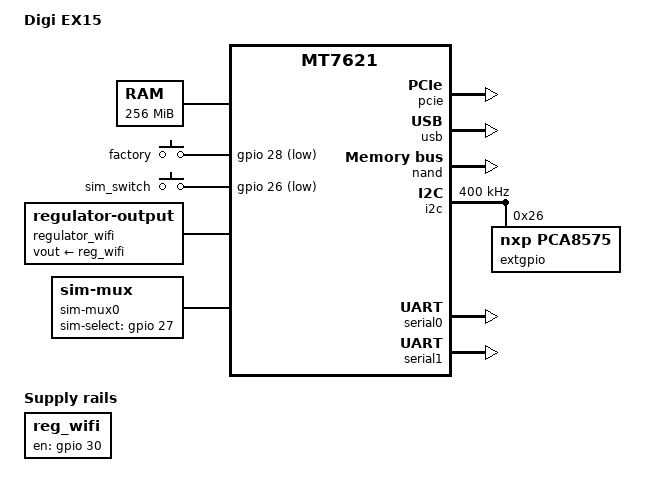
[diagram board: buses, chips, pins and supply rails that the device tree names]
/dts-v1/;

#include "mt7621.dtsi"
#include <dt-bindings/gpio/gpio.h>
#include <dt-bindings/input/input.h>
#include "mt7621_pstore.dtsi"

/ {
	model = "Digi EX15";
	compatible = "digi,ex15", "mediatek,mt7621-soc";

	memory@0 {
		device_type = "memory";
		reg = <0x0 0x10000000>;
	};

	chosen {
		stdout-path = "serial0:115200";
	};

	gpio-keys {
                compatible = "gpio-keys";

                factory-button {
                        label = "factory";
                        linux,code = <KEY_DELETE>;
                        gpios = <&gpio 28 GPIO_ACTIVE_LOW>;
                };

                sim-button {
                        label = "sim_switch";
                        linux,code = <KEY_SELECT>;
                        gpios = <&gpio 26 GPIO_ACTIVE_LOW>;
                };
	};

	reg_wifi: regulator-wifi {
		/* Note: This is not an actual regulator, but rather a disable
		 * pin on the module. */
		compatible = "regulator-fixed";
		regulator-name = "wifi-en";
		gpio = <&gpio 30 GPIO_ACTIVE_HIGH>;
		enable-active-high;
	};
	regulator_wifi {
		compatible = "regulator-output";
		vout-supply = <&reg_wifi>;
	};

	sim-mux0 {
		compatible = "sim-mux";

		sim-select-gpios  = <&gpio 27 GPIO_ACTIVE_HIGH>;

		sim-count = <2>;
	};
};

&pcie {
	pinctrl-names = "default";
	pinctrl-0 = <&pcie_pins>;
	status = "okay";
};

&usb {
	status = "okay";
};

&nand {
	status = "okay";
	pin-ctrl-names = "default";
	pinctrl-0 = <&nand_pins>;

	partition@0 {
		label = "u-boot";
		reg = <0x00000000 0x00200000>;
	};
	partition@1 {
		label = "u-boot-env";
		reg = <0x00200000 0x00100000>;
	};
	partition@2 {
		label = "log";
		reg = <0x00300000 0x00200000>;
	};
	partition@3 {
		label = "flash";
		reg = <0x00500000 0>;
	};
	partition@4 {
		label = "all";
		reg = <0x00000000 0>;
	};
};

/* Overwrite dtsi's pinctrl. EX15 is using RGMII2 pins as GPIOs */
&ethernet {
	pinctrl-0 = <&mdio_pins>, <&rgmii1_pins>;
};

&gmac1 {
        status = "disabled";
};

&switch0 {
	ports {
		port@0 {
			status = "okay";
			label = "lan";
		};
		port@1 {
			status = "okay";
			label = "wan";
		};
	};
};

&i2c {
	clock-frequency = <400000>;
	status = "okay";

	extgpio: pca8575@26 {
		compatible = "nxp,pca8575";
		reg = <0x26>;
		gpio-controller;
		#gpio-cells = <2>;
	};
};

&serial0 {
	status = "okay";
};

&serial1 {
	status = "okay";
	pinctrl-names = "default";
	pinctrl-0 = <&uart2_pins>;
	dtr-gpios = <&gpio 7 GPIO_ACTIVE_LOW>;
	dcd-gpios = <&gpio 8 GPIO_ACTIVE_LOW>;
};

&serial2 {
	status = "disabled";
};

&pinctrl {
	state_default: pinctrl0 {
		default_gpio {
			groups = "rgmii2";
			function = "gpio";
		};
	};
};

&gpio {
	gpio-line-names = "", "", "", "", "", "", "", "",
	/*  8 */	  "", "", "", "", "", "", "", "",
	/* 16 */	  "", "", "", "", "", "", "", "",
	/* 24 */	  "", "", "sim_switch", "", "factory", "", "", "",
	/* 32 */	  "", "", "", "", "", "", "", "",
	/* 40 */	  "", "", "", "", "", "", "", "",
	/* 48 */	  "", "", "", "", "", "", "", "",
	/* 56 */	  "", "", "", "", "", "", "", "",
	/* 64 */	  "", "", "", "", "", "", "", "",
	/* 72 */	  "", "", "", "", "", "", "", "",
	/* 80 */	  "", "", "", "", "", "", "", "",
	/* 88 */	  "", "", "", "", "", "", "", "";
};
